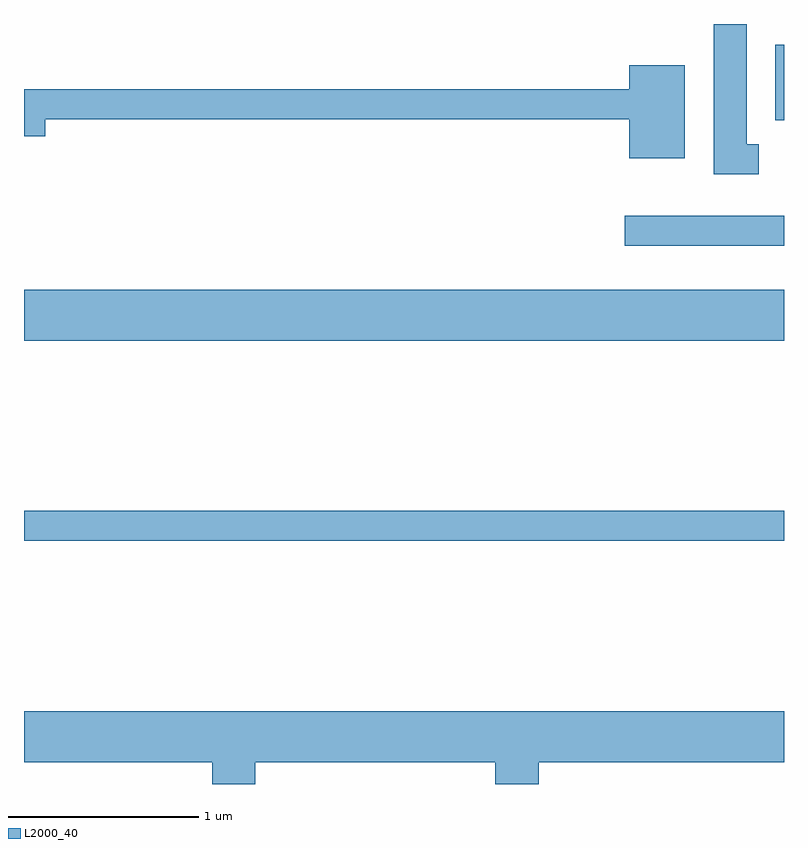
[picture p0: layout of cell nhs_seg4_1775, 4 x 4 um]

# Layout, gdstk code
import gdstk
lib = gdstk.Library(unit=1e-6, precision=1e-09)
def R(c, l, rs):  # rectangles x0, y0, x1, y1
    for r in rs: c.add(gdstk.rectangle(r[:2], r[2:], *l))
def P(c, l, *ps):  # polygons
    for p in ps: c.add(gdstk.Polygon(p, *l))
L2000_40 = (2000, 40)

nhs_seg4_1775 = lib.new_cell('nhs_seg4_1775')
R(nhs_seg4_1775, L2000_40, [(237.611,1269.261,241.611,1269.419), (237.611,1270.316,241.611,1270.584), (240.773,1270.816,241.611,1270.974), (241.566,1271.476,241.611,1271.874)])
P(nhs_seg4_1775, L2000_40, [(241.478,1271.349),(241.414,1271.349),(241.414,1271.982),(241.241,1271.982),(241.241,1271.191),(241.478,1271.191)],
  [(241.089,1271.764),(240.796,1271.764),(240.796,1271.639),(237.611,1271.639),(237.611,1271.391),(237.724,1271.391),(237.724,1271.481),(240.796,1271.481),(240.796,1271.276),(241.089,1271.276)],
  [(238.829,1268.096),(240.091,1268.096),(240.091,1267.982),(240.319,1267.982),(240.319,1268.096),(241.611,1268.096),(241.611,1268.364),(237.611,1268.364),(237.611,1268.096),(238.601,1268.096),(238.601,1267.982),(238.829,1267.982)])

lib.write_gds('nhs_seg4_1775.gds')
